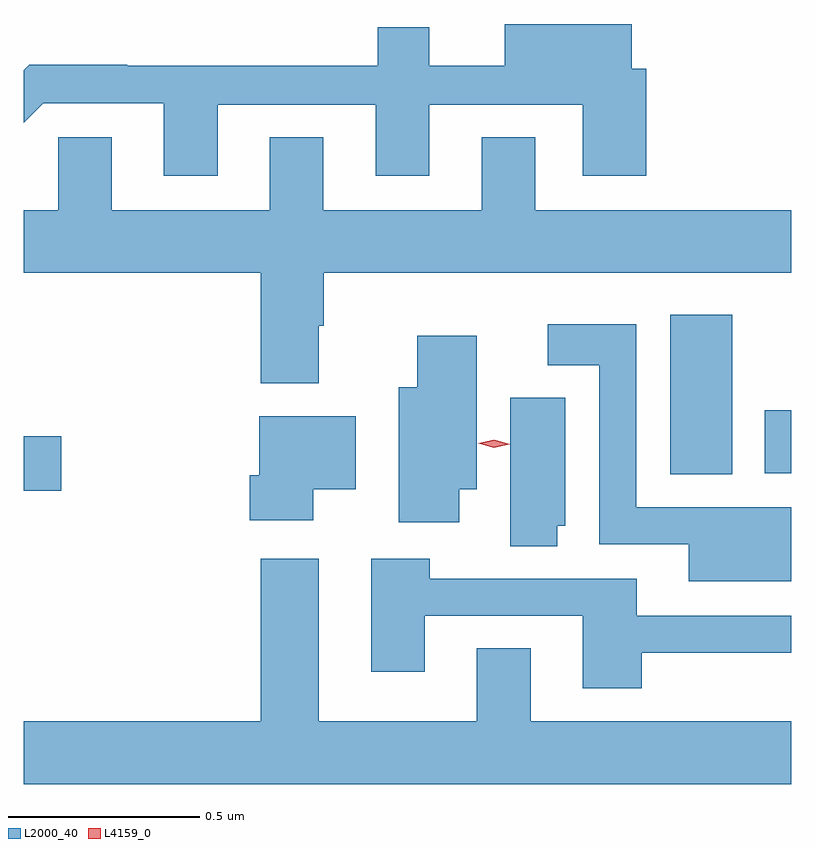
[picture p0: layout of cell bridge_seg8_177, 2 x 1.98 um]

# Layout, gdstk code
import gdstk
lib = gdstk.Library(unit=1e-6, precision=1e-09)
def R(c, l, rs):  # rectangles x0, y0, x1, y1
    for r in rs: c.add(gdstk.rectangle(r[:2], r[2:], *l))
def P(c, l, *ps):  # polygons
    for p in ps: c.add(gdstk.Polygon(p, *l))
L2000_40 = (2000, 40)
L4159_0 = (4159, 0)

bridge_seg8_177 = lib.new_cell('bridge_seg8_177')
R(bridge_seg8_177, L2000_40, [(436.92,1111.937,437.017,1112.079), (438.605,1111.979,438.766,1112.395), (438.851,1111.982,438.92,1112.146)])
P(bridge_seg8_177, L2000_40, [(437.425,1112.943),(437.837,1112.943),(437.837,1112.757),(437.977,1112.757),(437.977,1112.943),(438.377,1112.943),(438.377,1112.757),(438.542,1112.757),(438.542,1113.036),(438.505,1113.036),(438.505,1113.153),(438.173,1113.153),(438.173,1113.044),(437.977,1113.044),(437.977,1113.145),(437.843,1113.145),(437.843,1113.044),(437.189,1113.044),(437.189,1113.047),(436.934,1113.047),(436.92,1113.033),(436.92,1112.895),(436.971,1112.946),(437.285,1112.946),(437.285,1112.757),(437.425,1112.757)],
  [(437.702,1112.504),(438.92,1112.504),(438.92,1112.668),(438.253,1112.668),(438.253,1112.858),(438.113,1112.858),(438.113,1112.668),(437.701,1112.668),(437.701,1112.858),(437.561,1112.858),(437.561,1112.668),(437.149,1112.668),(437.149,1112.858),(437.01,1112.858),(437.01,1112.668),(436.92,1112.668),(436.92,1112.504),(437.537,1112.504),(437.537,1112.216),(437.689,1112.216),(437.689,1112.366),(437.702,1112.366)],
  [(438.92,1111.894),(438.762,1111.894),(438.762,1111.893),(438.516,1111.893),(438.516,1112.371),(438.285,1112.371),(438.285,1112.264),(438.42,1112.264),(438.42,1111.797),(438.653,1111.797),(438.653,1111.7),(438.92,1111.7)],
  [(438.055,1111.94),(438.1,1111.94),(438.1,1112.341),(437.945,1112.341),(437.945,1112.206),(437.897,1112.206),(437.897,1111.854),(438.055,1111.854)],
  [(438.31,1111.845),(438.331,1111.845),(438.331,1112.179),(438.188,1112.179),(438.188,1111.792),(438.31,1111.792)],
  [(437.674,1111.94),(437.785,1111.94),(437.785,1112.131),(437.534,1112.131),(437.534,1111.977),(437.509,1111.977),(437.509,1111.859),(437.674,1111.859)],
  [(438.92,1111.336),(438.241,1111.336),(438.241,1111.526),(438.101,1111.526),(438.101,1111.336),(437.689,1111.336),(437.689,1111.759),(437.537,1111.759),(437.537,1111.336),(436.92,1111.336),(436.92,1111.172),(438.92,1111.172)],
  [(438.53,1111.514),(438.92,1111.514),(438.92,1111.611),(438.517,1111.611),(438.517,1111.707),(437.978,1111.707),(437.978,1111.759),(437.825,1111.759),(437.825,1111.464),(437.965,1111.464),(437.965,1111.611),(438.377,1111.611),(438.377,1111.422),(438.53,1111.422)])
P(bridge_seg8_177, L4159_0, [(438.145,1112.049),(438.104,1112.06),(438.104,1112.06),(438.104,1112.06),(438.146,1112.069),(438.186,1112.058),(438.186,1112.058),(438.186,1112.058)])

lib.write_gds('bridge_seg8_177.gds')
